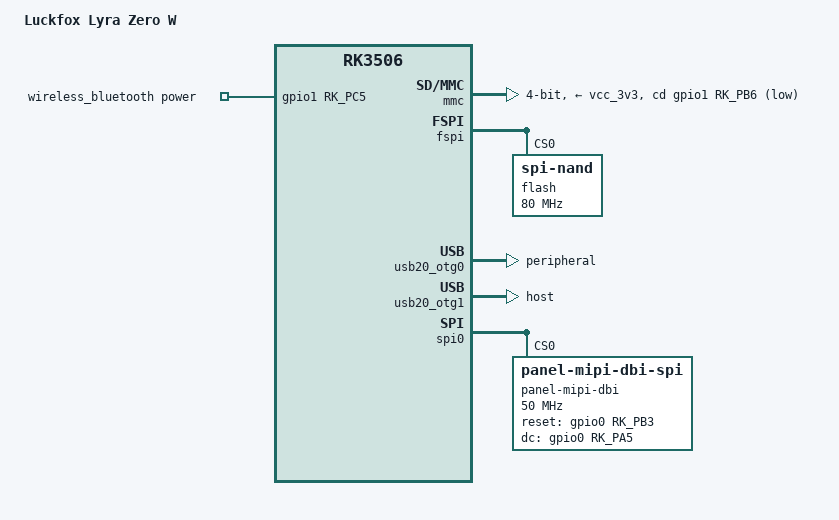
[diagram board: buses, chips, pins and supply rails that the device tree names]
// SPDX-License-Identifier: (GPL-2.0+ OR MIT)
/*
 * Copyright (c) 2024 Rockchip Electronics Co., Ltd.
 */

/dts-v1/;

#include "rk3506-luckfox-lyra-ultra.dtsi"

/ {
	model = "Luckfox Lyra Zero W";
	compatible = "rockchip,rk3506g-demo-display-control", "rockchip,rk3506";

	chosen {
		bootargs = "earlycon=uart8250,mmio32,0xff0a0000 console=tty1 console=ttyFIQ0 root=ubi0:rootfs ubi.mtd=2 rootfstype=ubifs rootwait snd_aloop.index=7 snd_aloop.use_raw_jiffies=1";
	};

	wireless_bluetooth: wireless-bluetooth {
		compatible = "bluetooth-platdata";
		BT,power_gpio = <&gpio1 RK_PC5 GPIO_ACTIVE_HIGH>;
		status = "okay";
	};
};

/**********media**********/
&mmc {
	/* For SDMMC */
	max-frequency = <52000000>;
	bus-width = <4>;
	no-sdio;
	no-mmc;
	cap-mmc-highspeed;
	cap-sd-highspeed;
	cd-gpios = <&gpio1 RK_PB6 GPIO_ACTIVE_LOW>; //det
	disable-wp;
	//sd-uhs-sdr104;
	pinctrl-names = "default";
	pinctrl-0 = <&sdmmc_clk_pins &sdmmc_cmd_pins &sdmmc_bus4_pins &sdmmc_det &sdmmc_pwren>;
	vqmmc-supply = <&vcc_3v3>;
	vmmc-supply = <&vcc_3v3>;
	status = "okay";
};

&fspi {
	status = "okay";

	flash@0 {
		compatible = "spi-nand";
		reg = <0>;
		spi-max-frequency = <80000000>;
		spi-rx-bus-width = <4>;
		spi-tx-bus-width = <1>;
	};
};

/**********display**********/
&cma {
	size = <0x2000000>;
};

&dsi {
	status = "disabled";
};

&dsi_dphy {
	status = "disabled";
};

&dsi_in_vop {
	status = "disabled";
};

&route_dsi {
	status = "disabled";
};

&dsi_panel {
	status = "disabled";
};

/**********ethernet**********/
&gmac1 {
	status = "disabled";
};

/**********usb**********/
&usb20_otg0 {
	dr_mode = "peripheral";
	status = "okay";
};

&usb20_otg1 {
	dr_mode = "host";
	status = "okay";
};

&pinctrl {
	tft {
		tft_pins: tft-pins {
			rockchip,pins =
				<0 RK_PB3 RK_FUNC_GPIO &pcfg_pull_none>,
				<0 RK_PA5 RK_FUNC_GPIO &pcfg_pull_none>,
				<0 RK_PB6 RK_FUNC_GPIO &pcfg_pull_none>;
		};
	};
};

&spi0 {
	pinctrl-names = "default";
	pinctrl-0 = <&rm_io6_spi0_mosi &rm_io7_spi0_miso &rm_io8_spi0_clk &rm_io10_spi0_csn0>;

	status = "okay";

	panel-mipi-dbi@0 {
		#address-cells = <1>;
		#size-cells = <1>;

		pinctrl-names = "default";
		pinctrl-0 = <&tft_pins>;

		compatible = "panel-mipi-dbi-spi";

		spi-max-frequency = <50000000>;
		reg = <0>;

		width-mm = <55>;
		height-mm = <84>;

		reset-gpios = <&gpio0 RK_PB3 GPIO_ACTIVE_HIGH>;
		dc-gpios = <&gpio0 RK_PA5 GPIO_ACTIVE_HIGH>;
		write-only;

		status = "okay";

		panel-timing {
			hactive = <480>;
			vactive = <320>;
			hback-porch = <0>;
			vback-porch = <0>;

			clock-frequency = <0>;
			hfront-porch = <0>;
			hsync-len = <0>;
			vfront-porch = <0>;
			vsync-len = <0>;
		};
	};
};
